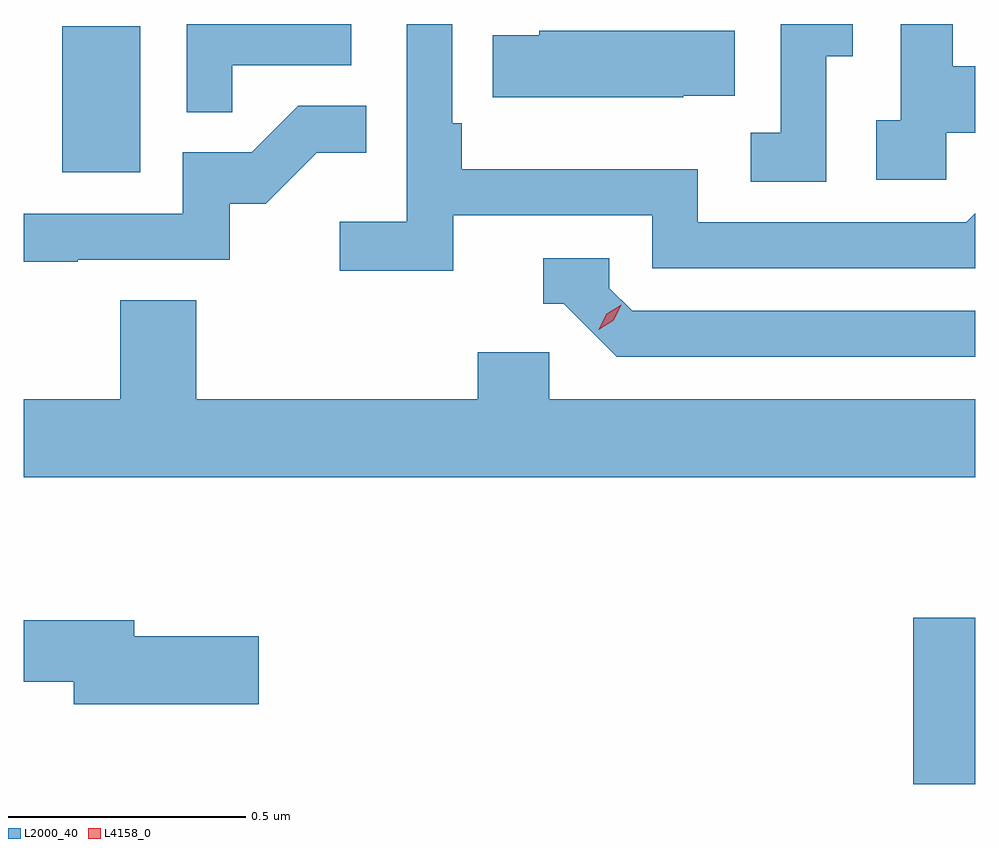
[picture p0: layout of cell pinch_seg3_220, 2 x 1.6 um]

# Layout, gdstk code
import gdstk
lib = gdstk.Library(unit=1e-6, precision=1e-09)
def R(c, l, rs):  # rectangles x0, y0, x1, y1
    for r in rs: c.add(gdstk.rectangle(r[:2], r[2:], *l))
def P(c, l, *ps):  # polygons
    for p in ps: c.add(gdstk.Polygon(p, *l))
L2000_40 = (2000, 40)
L4158_0 = (4158, 0)

pinch_seg3_220 = lib.new_cell('pinch_seg3_220')
R(pinch_seg3_220, L2000_40, [(940.556,737.567,940.687,737.916), (938.768,738.852,938.932,739.159)])
P(pinch_seg3_220, L2000_40, [(940.374,739.096),(940.429,739.096),(940.429,739.164),(940.278,739.164),(940.278,738.935),(940.215,738.935),(940.215,738.832),(940.374,738.832)],
  [(940.626,738.935),(940.687,738.935),(940.687,739.075),(940.639,739.075),(940.639,739.164),(940.53,739.164),(940.53,738.962),(940.479,738.962),(940.479,738.837),(940.626,738.837)],
  [(939.59,738.762),(940.008,738.762),(940.008,738.651),(940.687,738.651),(940.687,738.766),(940.668,738.747),(940.104,738.747),(940.104,738.859),(939.608,738.859),(939.608,738.955),(939.588,738.955),(939.588,739.164),(939.492,739.164),(939.492,738.748),(939.351,738.748),(939.351,738.646),(939.59,738.646)],
  [(939.125,739.077),(939.376,739.077),(939.376,739.164),(939.03,739.164),(939.03,738.979),(939.125,738.979)],
  [(940.073,739.013),(940.181,739.013),(940.181,739.15),(939.771,739.15),(939.771,739.14),(939.673,739.14),(939.673,739.01),(940.073,739.01)],
  [(938.801,738.669),(939.12,738.669),(939.12,738.786),(939.196,738.786),(939.303,738.893),(939.407,738.893),(939.407,738.992),(939.264,738.992),(939.166,738.894),(939.021,738.894),(939.021,738.765),(938.687,738.765),(938.687,738.664),(938.801,738.664)],
  [(940.687,738.561),(939.966,738.561),(939.918,738.609),(939.918,738.672),(939.779,738.672),(939.779,738.576),(939.822,738.576),(939.933,738.465),(940.687,738.465)],
  [(940.687,738.376),(939.792,738.376),(939.792,738.474),(939.641,738.474),(939.641,738.376),(939.05,738.376),(939.05,738.584),(938.89,738.584),(938.89,738.376),(938.687,738.376),(938.687,738.212),(940.687,738.212)],
  [(939.181,737.877),(938.92,737.877),(938.92,737.911),(938.687,737.911),(938.687,737.782),(938.792,737.782),(938.792,737.735),(939.181,737.735)])
P(pinch_seg3_220, L4158_0, [(939.896,738.522),(939.896,738.523),(939.912,738.555),(939.943,738.574),(939.943,738.574),(939.943,738.574),(939.927,738.541),(939.896,738.522)])

lib.write_gds('pinch_seg3_220.gds')
